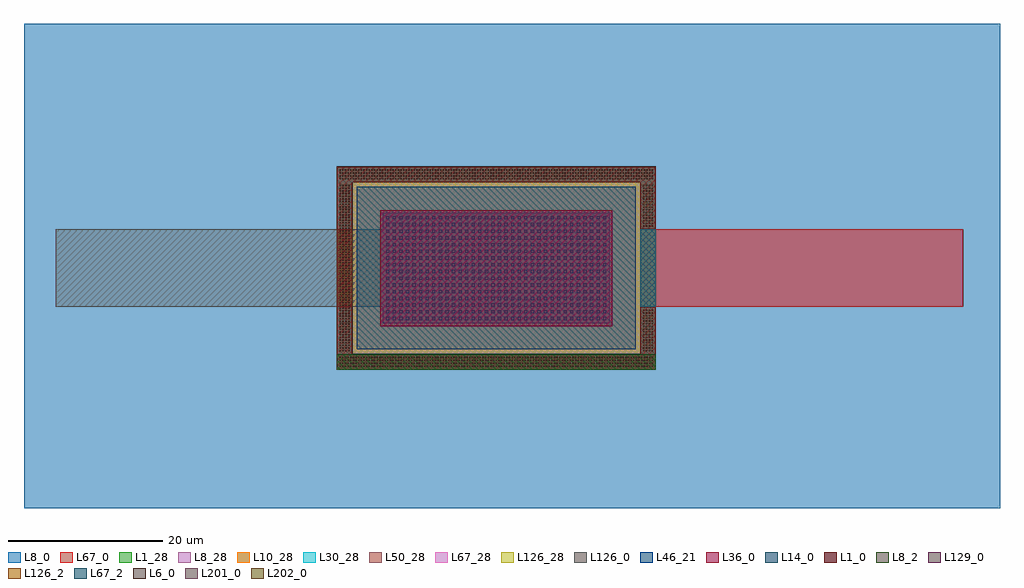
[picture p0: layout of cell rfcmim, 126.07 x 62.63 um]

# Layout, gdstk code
import gdstk
lib = gdstk.Library(unit=1e-6, precision=1e-09)
def R(c, l, rs):  # rectangles x0, y0, x1, y1
    for r in rs: c.add(gdstk.rectangle(r[:2], r[2:], *l))
def A(c, l, x, y, w, h, nx, ny, dx, dy):  # array of equal rectangles
    R(c, l, [(x+i*dx, y+j*dy, x+i*dx+w, y+j*dy+h) for i in range(nx) for j in range(ny)])
def P(c, l, *ps):  # polygons
    for p in ps: c.add(gdstk.Polygon(p, *l))
L1_0 = (1, 0)
L1_28 = (1, 28)
L6_0 = (6, 0)
L8_0 = (8, 0)
L8_2 = (8, 2)
L8_28 = (8, 28)
L10_28 = (10, 28)
L14_0 = (14, 0)
L30_28 = (30, 28)
L36_0 = (36, 0)
L46_21 = (46, 21)
L50_28 = (50, 28)
L67_0 = (67, 0)
L67_2 = (67, 2)
L67_28 = (67, 28)
L126_0 = (126, 0)
L126_2 = (126, 2)
L126_28 = (126, 28)
L129_0 = (129, 0)
L201_0 = (201, 0)
L202_0 = (202, 0)

rfcmim_0 = lib.new_cell('rfcmim_0')
P(rfcmim_0, L1_0, [(-5.6,-5.6),(-5.6,20.6),(35.6,20.6),(35.6,12.5),(33.6,12.5),(33.6,18.6),(-3.6,18.6),(-3.6,-3.6),(33.6,-3.6),(33.6,2.5),(35.6,2.5),(35.6,-5.6)])
R(rfcmim_0, L1_28, [(-5.6,-5.6,35.6,20.6)])
A(rfcmim_0, L6_0, -5.24, -5.24, 0.16, 0.16, 3, 2, 0.34, 0.37)
A(rfcmim_0, L6_0, -4.215, -5.24, 0.16, 0.16, 3, 2, 0.34, 0.37)
A(rfcmim_0, L6_0, -3.19, -5.24, 0.16, 0.16, 3, 2, 0.34, 0.37)
A(rfcmim_0, L6_0, -2.165, -5.24, 0.16, 0.16, 3, 2, 0.34, 0.37)
A(rfcmim_0, L6_0, -1.14, -5.24, 0.16, 0.16, 3, 2, 0.34, 0.37)
A(rfcmim_0, L6_0, -0.115, -5.24, 0.16, 0.16, 3, 2, 0.34, 0.37)
A(rfcmim_0, L6_0, 0.91, -5.24, 0.16, 0.16, 3, 2, 0.34, 0.37)
A(rfcmim_0, L6_0, 1.935, -5.24, 0.16, 0.16, 3, 2, 0.34, 0.37)
A(rfcmim_0, L6_0, 2.96, -5.24, 0.16, 0.16, 3, 2, 0.34, 0.37)
A(rfcmim_0, L6_0, 3.985, -5.24, 0.16, 0.16, 3, 2, 0.34, 0.37)
A(rfcmim_0, L6_0, 5.01, -5.24, 0.16, 0.16, 3, 2, 0.34, 0.37)
A(rfcmim_0, L6_0, 6.035, -5.24, 0.16, 0.16, 3, 2, 0.34, 0.37)
A(rfcmim_0, L6_0, 7.06, -5.24, 0.16, 0.16, 3, 2, 0.34, 0.37)
A(rfcmim_0, L6_0, 8.085, -5.24, 0.16, 0.16, 3, 2, 0.34, 0.37)
A(rfcmim_0, L6_0, 9.11, -5.24, 0.16, 0.16, 3, 2, 0.34, 0.37)
A(rfcmim_0, L6_0, 10.135, -5.24, 0.16, 0.16, 3, 2, 0.34, 0.37)
A(rfcmim_0, L6_0, 11.16, -5.24, 0.16, 0.16, 3, 2, 0.34, 0.37)
A(rfcmim_0, L6_0, 12.185, -5.24, 0.16, 0.16, 3, 2, 0.34, 0.37)
A(rfcmim_0, L6_0, 13.21, -5.24, 0.16, 0.16, 3, 2, 0.34, 0.37)
A(rfcmim_0, L6_0, 14.92, -5.24, 0.16, 0.16, 3, 2, 0.34, 0.37)
A(rfcmim_0, L6_0, 15.945, -5.24, 0.16, 0.16, 3, 2, 0.34, 0.37)
A(rfcmim_0, L6_0, 16.97, -5.24, 0.16, 0.16, 3, 2, 0.34, 0.37)
A(rfcmim_0, L6_0, 17.995, -5.24, 0.16, 0.16, 3, 2, 0.34, 0.37)
A(rfcmim_0, L6_0, 19.02, -5.24, 0.16, 0.16, 3, 2, 0.34, 0.37)
A(rfcmim_0, L6_0, 20.045, -5.24, 0.16, 0.16, 3, 2, 0.34, 0.37)
A(rfcmim_0, L6_0, 21.07, -5.24, 0.16, 0.16, 3, 2, 0.34, 0.37)
A(rfcmim_0, L6_0, 22.095, -5.24, 0.16, 0.16, 3, 2, 0.34, 0.37)
A(rfcmim_0, L6_0, 23.12, -5.24, 0.16, 0.16, 3, 2, 0.34, 0.37)
A(rfcmim_0, L6_0, 24.145, -5.24, 0.16, 0.16, 3, 2, 0.34, 0.37)
A(rfcmim_0, L6_0, 25.17, -5.24, 0.16, 0.16, 3, 2, 0.34, 0.37)
A(rfcmim_0, L6_0, 26.195, -5.24, 0.16, 0.16, 3, 2, 0.34, 0.37)
A(rfcmim_0, L6_0, 27.22, -5.24, 0.16, 0.16, 3, 2, 0.34, 0.37)
A(rfcmim_0, L6_0, 28.245, -5.24, 0.16, 0.16, 3, 2, 0.34, 0.37)
A(rfcmim_0, L6_0, 29.27, -5.24, 0.16, 0.16, 3, 2, 0.34, 0.37)
A(rfcmim_0, L6_0, 30.295, -5.24, 0.16, 0.16, 3, 2, 0.34, 0.37)
A(rfcmim_0, L6_0, 31.32, -5.24, 0.16, 0.16, 3, 2, 0.34, 0.37)
A(rfcmim_0, L6_0, 32.345, -5.24, 0.16, 0.16, 3, 2, 0.34, 0.37)
A(rfcmim_0, L6_0, 33.37, -5.24, 0.16, 0.16, 3, 2, 0.34, 0.37)
A(rfcmim_0, L6_0, 14.235, -4.87, 0.16, 0.16, 1, 3, 0, 0.375)
A(rfcmim_0, L6_0, 14.575, -4.87, 0.16, 0.16, 1, 3, 0, 0.375)
A(rfcmim_0, L6_0, 34.395, -4.87, 0.16, 0.16, 1, 3, 0, 0.375)
A(rfcmim_0, L6_0, 34.735, -4.87, 0.16, 0.16, 1, 3, 0, 0.375)
A(rfcmim_0, L6_0, 35.08, -4.87, 0.16, 0.16, 1, 3, 0, 0.375)
A(rfcmim_0, L6_0, -5.24, -4.495, 0.16, 0.16, 3, 2, 0.34, 0.375)
A(rfcmim_0, L6_0, -4.215, -4.495, 0.16, 0.16, 3, 2, 0.34, 0.375)
A(rfcmim_0, L6_0, -3.19, -4.495, 0.16, 0.16, 3, 2, 0.34, 0.375)
A(rfcmim_0, L6_0, -2.165, -4.495, 0.16, 0.16, 3, 2, 0.34, 0.375)
A(rfcmim_0, L6_0, -1.14, -4.495, 0.16, 0.16, 3, 2, 0.34, 0.375)
A(rfcmim_0, L6_0, -0.115, -4.495, 0.16, 0.16, 3, 2, 0.34, 0.375)
A(rfcmim_0, L6_0, 0.91, -4.495, 0.16, 0.16, 3, 2, 0.34, 0.375)
A(rfcmim_0, L6_0, 1.935, -4.495, 0.16, 0.16, 3, 2, 0.34, 0.375)
A(rfcmim_0, L6_0, 2.96, -4.495, 0.16, 0.16, 3, 2, 0.34, 0.375)
A(rfcmim_0, L6_0, 3.985, -4.495, 0.16, 0.16, 3, 2, 0.34, 0.375)
A(rfcmim_0, L6_0, 5.01, -4.495, 0.16, 0.16, 3, 2, 0.34, 0.375)
A(rfcmim_0, L6_0, 6.035, -4.495, 0.16, 0.16, 3, 2, 0.34, 0.375)
A(rfcmim_0, L6_0, 7.06, -4.495, 0.16, 0.16, 3, 2, 0.34, 0.375)
A(rfcmim_0, L6_0, 8.085, -4.495, 0.16, 0.16, 3, 2, 0.34, 0.375)
A(rfcmim_0, L6_0, 9.11, -4.495, 0.16, 0.16, 3, 2, 0.34, 0.375)
A(rfcmim_0, L6_0, 10.135, -4.495, 0.16, 0.16, 3, 2, 0.34, 0.375)
A(rfcmim_0, L6_0, 11.16, -4.495, 0.16, 0.16, 3, 2, 0.34, 0.375)
A(rfcmim_0, L6_0, 12.185, -4.495, 0.16, 0.16, 3, 2, 0.34, 0.375)
A(rfcmim_0, L6_0, 13.21, -4.495, 0.16, 0.16, 3, 2, 0.34, 0.375)
A(rfcmim_0, L6_0, 14.92, -4.495, 0.16, 0.16, 3, 2, 0.34, 0.375)
A(rfcmim_0, L6_0, 15.945, -4.495, 0.16, 0.16, 3, 2, 0.34, 0.375)
A(rfcmim_0, L6_0, 16.97, -4.495, 0.16, 0.16, 3, 2, 0.34, 0.375)
A(rfcmim_0, L6_0, 17.995, -4.495, 0.16, 0.16, 3, 2, 0.34, 0.375)
A(rfcmim_0, L6_0, 19.02, -4.495, 0.16, 0.16, 3, 2, 0.34, 0.375)
A(rfcmim_0, L6_0, 20.045, -4.495, 0.16, 0.16, 3, 2, 0.34, 0.375)
A(rfcmim_0, L6_0, 21.07, -4.495, 0.16, 0.16, 3, 2, 0.34, 0.375)
A(rfcmim_0, L6_0, 22.095, -4.495, 0.16, 0.16, 3, 2, 0.34, 0.375)
A(rfcmim_0, L6_0, 23.12, -4.495, 0.16, 0.16, 3, 2, 0.34, 0.375)
A(rfcmim_0, L6_0, 24.145, -4.495, 0.16, 0.16, 3, 2, 0.34, 0.375)
A(rfcmim_0, L6_0, 25.17, -4.495, 0.16, 0.16, 3, 2, 0.34, 0.375)
A(rfcmim_0, L6_0, 26.195, -4.495, 0.16, 0.16, 3, 2, 0.34, 0.375)
A(rfcmim_0, L6_0, 27.22, -4.495, 0.16, 0.16, 3, 2, 0.34, 0.375)
A(rfcmim_0, L6_0, 28.245, -4.495, 0.16, 0.16, 3, 2, 0.34, 0.375)
A(rfcmim_0, L6_0, 29.27, -4.495, 0.16, 0.16, 3, 2, 0.34, 0.375)
A(rfcmim_0, L6_0, 30.295, -4.495, 0.16, 0.16, 3, 2, 0.34, 0.375)
A(rfcmim_0, L6_0, 31.32, -4.495, 0.16, 0.16, 3, 2, 0.34, 0.375)
A(rfcmim_0, L6_0, 32.345, -4.495, 0.16, 0.16, 3, 2, 0.34, 0.375)
A(rfcmim_0, L6_0, 33.37, -4.495, 0.16, 0.16, 3, 2, 0.34, 0.375)
A(rfcmim_0, L6_0, -4.87, -3.24, 0.16, 0.16, 3, 2, 0.375, 0.34)
A(rfcmim_0, L6_0, 34.33, -3.24, 0.16, 0.16, 3, 2, 0.375, 0.345)
A(rfcmim_0, L6_0, -5.24, -2.9, 0.16, 0.16, 1, 4, 0, 0.345)
A(rfcmim_0, L6_0, -4.87, -2.555, 0.16, 0.16, 3, 3, 0.375, 0.345)
A(rfcmim_0, L6_0, 34.33, -2.545, 0.16, 0.16, 3, 2, 0.375, 0.345)
A(rfcmim_0, L6_0, 33.96, -2.2, 0.16, 0.16, 1, 3, 0, 0.35)
A(rfcmim_0, L6_0, 34.33, -1.85, 0.16, 0.16, 3, 2, 0.375, 0.35)
A(rfcmim_0, L6_0, -5.24, -1.525, 0.16, 0.16, 1, 4, 0, 0.345)
A(rfcmim_0, L6_0, -4.87, -1.525, 0.16, 0.16, 3, 4, 0.375, 0.345)
A(rfcmim_0, L6_0, 34.33, -1.155, 0.16, 0.16, 3, 2, 0.375, 0.35)
A(rfcmim_0, L6_0, 33.96, -0.46, 0.16, 0.16, 1, 3, 0, 0.35)
A(rfcmim_0, L6_0, 34.33, -0.46, 0.16, 0.16, 3, 3, 0.375, 0.35)
A(rfcmim_0, L6_0, -5.24, -0.15, 0.16, 0.16, 1, 5, 0, 0.345)
A(rfcmim_0, L6_0, -4.87, -0.15, 0.16, 0.16, 3, 5, 0.375, 0.345)
A(rfcmim_0, L6_0, 34.33, 0.585, 0.16, 0.16, 3, 2, 0.375, 0.35)
A(rfcmim_0, L6_0, 33.96, 1.28, 0.16, 0.16, 1, 3, 0, 0.35)
A(rfcmim_0, L6_0, 34.33, 1.28, 0.16, 0.16, 3, 3, 0.375, 0.35)
A(rfcmim_0, L6_0, -5.24, 1.57, 0.16, 0.16, 1, 4, 0, 0.345)
A(rfcmim_0, L6_0, -4.87, 1.57, 0.16, 0.16, 3, 4, 0.375, 0.345)
A(rfcmim_0, L6_0, -5.24, 2.945, 0.16, 0.16, 1, 5, 0, 0.345)
A(rfcmim_0, L6_0, -4.87, 2.945, 0.16, 0.16, 3, 5, 0.375, 0.345)
A(rfcmim_0, L6_0, -5.24, 4.665, 0.16, 0.16, 1, 4, 0, 0.345)
A(rfcmim_0, L6_0, -4.87, 4.665, 0.16, 0.16, 3, 4, 0.375, 0.345)
A(rfcmim_0, L6_0, -5.24, 6.04, 0.16, 0.16, 1, 5, 0, 0.345)
A(rfcmim_0, L6_0, -4.87, 6.04, 0.16, 0.16, 3, 5, 0.375, 0.345)
A(rfcmim_0, L6_0, -5.24, 7.76, 0.16, 0.16, 1, 4, 0, 0.345)
A(rfcmim_0, L6_0, -4.87, 7.76, 0.16, 0.16, 3, 4, 0.375, 0.345)
A(rfcmim_0, L6_0, -5.24, 9.135, 0.16, 0.16, 1, 4, 0, 0.345)
A(rfcmim_0, L6_0, -4.87, 9.135, 0.16, 0.16, 3, 4, 0.375, 0.345)
A(rfcmim_0, L6_0, -5.24, 10.51, 0.16, 0.16, 1, 5, 0, 0.345)
A(rfcmim_0, L6_0, -4.87, 10.51, 0.16, 0.16, 3, 5, 0.375, 0.345)
A(rfcmim_0, L6_0, -5.24, 12.23, 0.16, 0.16, 1, 4, 0, 0.345)
A(rfcmim_0, L6_0, -4.87, 12.23, 0.16, 0.16, 3, 4, 0.375, 0.345)
A(rfcmim_0, L6_0, 34.33, 12.86, 0.16, 0.16, 3, 2, 0.375, 0.345)
A(rfcmim_0, L6_0, 34.33, 13.555, 0.16, 0.16, 3, 2, 0.375, 0.345)
A(rfcmim_0, L6_0, -5.24, 13.605, 0.16, 0.16, 1, 5, 0, 0.345)
A(rfcmim_0, L6_0, -4.87, 13.605, 0.16, 0.16, 3, 5, 0.375, 0.345)
A(rfcmim_0, L6_0, 33.96, 13.9, 0.16, 0.16, 1, 3, 0, 0.35)
A(rfcmim_0, L6_0, 34.33, 14.25, 0.16, 0.16, 3, 2, 0.375, 0.35)
A(rfcmim_0, L6_0, 34.33, 14.945, 0.16, 0.16, 3, 2, 0.375, 0.35)
A(rfcmim_0, L6_0, -5.24, 15.325, 0.16, 0.16, 1, 4, 0, 0.345)
A(rfcmim_0, L6_0, -4.87, 15.325, 0.16, 0.16, 3, 4, 0.375, 0.345)
A(rfcmim_0, L6_0, 33.96, 15.64, 0.16, 0.16, 1, 3, 0, 0.35)
A(rfcmim_0, L6_0, 34.33, 15.64, 0.16, 0.16, 3, 3, 0.375, 0.35)
A(rfcmim_0, L6_0, 34.33, 16.685, 0.16, 0.16, 3, 2, 0.375, 0.35)
A(rfcmim_0, L6_0, -5.24, 16.7, 0.16, 0.16, 1, 5, 0, 0.345)
A(rfcmim_0, L6_0, -4.87, 16.7, 0.16, 0.16, 3, 5, 0.375, 0.345)
A(rfcmim_0, L6_0, 33.96, 17.38, 0.16, 0.16, 1, 3, 0, 0.35)
A(rfcmim_0, L6_0, 34.33, 17.38, 0.16, 0.16, 3, 3, 0.375, 0.35)
A(rfcmim_0, L6_0, -5.24, 18.96, 0.16, 0.16, 3, 2, 0.34, 0.37)
A(rfcmim_0, L6_0, -4.215, 18.96, 0.16, 0.16, 3, 2, 0.34, 0.37)
A(rfcmim_0, L6_0, -3.19, 18.96, 0.16, 0.16, 3, 2, 0.34, 0.37)
A(rfcmim_0, L6_0, -2.165, 18.96, 0.16, 0.16, 3, 2, 0.34, 0.37)
A(rfcmim_0, L6_0, -1.14, 18.96, 0.16, 0.16, 3, 2, 0.34, 0.37)
A(rfcmim_0, L6_0, -0.115, 18.96, 0.16, 0.16, 3, 2, 0.34, 0.37)
A(rfcmim_0, L6_0, 0.91, 18.96, 0.16, 0.16, 3, 2, 0.34, 0.37)
A(rfcmim_0, L6_0, 1.935, 18.96, 0.16, 0.16, 3, 2, 0.34, 0.37)
A(rfcmim_0, L6_0, 2.96, 18.96, 0.16, 0.16, 3, 2, 0.34, 0.37)
A(rfcmim_0, L6_0, 3.985, 18.96, 0.16, 0.16, 3, 2, 0.34, 0.37)
A(rfcmim_0, L6_0, 5.01, 18.96, 0.16, 0.16, 3, 2, 0.34, 0.37)
A(rfcmim_0, L6_0, 6.035, 18.96, 0.16, 0.16, 3, 2, 0.34, 0.37)
A(rfcmim_0, L6_0, 7.06, 18.96, 0.16, 0.16, 3, 2, 0.34, 0.37)
A(rfcmim_0, L6_0, 8.085, 18.96, 0.16, 0.16, 3, 2, 0.34, 0.37)
A(rfcmim_0, L6_0, 9.11, 18.96, 0.16, 0.16, 3, 2, 0.34, 0.37)
A(rfcmim_0, L6_0, 10.135, 18.96, 0.16, 0.16, 3, 2, 0.34, 0.37)
A(rfcmim_0, L6_0, 11.16, 18.96, 0.16, 0.16, 3, 2, 0.34, 0.37)
A(rfcmim_0, L6_0, 12.185, 18.96, 0.16, 0.16, 3, 2, 0.34, 0.37)
A(rfcmim_0, L6_0, 13.21, 18.96, 0.16, 0.16, 3, 2, 0.34, 0.37)
A(rfcmim_0, L6_0, 14.92, 18.96, 0.16, 0.16, 3, 2, 0.34, 0.37)
A(rfcmim_0, L6_0, 15.945, 18.96, 0.16, 0.16, 3, 2, 0.34, 0.37)
A(rfcmim_0, L6_0, 16.97, 18.96, 0.16, 0.16, 3, 2, 0.34, 0.37)
A(rfcmim_0, L6_0, 17.995, 18.96, 0.16, 0.16, 3, 2, 0.34, 0.37)
A(rfcmim_0, L6_0, 19.02, 18.96, 0.16, 0.16, 3, 2, 0.34, 0.37)
A(rfcmim_0, L6_0, 20.045, 18.96, 0.16, 0.16, 3, 2, 0.34, 0.37)
A(rfcmim_0, L6_0, 21.07, 18.96, 0.16, 0.16, 3, 2, 0.34, 0.37)
A(rfcmim_0, L6_0, 22.095, 18.96, 0.16, 0.16, 3, 2, 0.34, 0.37)
A(rfcmim_0, L6_0, 23.12, 18.96, 0.16, 0.16, 3, 2, 0.34, 0.37)
A(rfcmim_0, L6_0, 24.145, 18.96, 0.16, 0.16, 3, 2, 0.34, 0.37)
A(rfcmim_0, L6_0, 25.17, 18.96, 0.16, 0.16, 3, 2, 0.34, 0.37)
A(rfcmim_0, L6_0, 26.195, 18.96, 0.16, 0.16, 3, 2, 0.34, 0.37)
A(rfcmim_0, L6_0, 27.22, 18.96, 0.16, 0.16, 3, 2, 0.34, 0.37)
A(rfcmim_0, L6_0, 28.245, 18.96, 0.16, 0.16, 3, 2, 0.34, 0.37)
A(rfcmim_0, L6_0, 29.27, 18.96, 0.16, 0.16, 3, 2, 0.34, 0.37)
A(rfcmim_0, L6_0, 30.295, 18.96, 0.16, 0.16, 3, 2, 0.34, 0.37)
A(rfcmim_0, L6_0, 31.32, 18.96, 0.16, 0.16, 3, 2, 0.34, 0.37)
A(rfcmim_0, L6_0, 32.345, 18.96, 0.16, 0.16, 3, 2, 0.34, 0.37)
A(rfcmim_0, L6_0, 33.37, 18.96, 0.16, 0.16, 3, 2, 0.34, 0.37)
A(rfcmim_0, L6_0, 14.235, 19.33, 0.16, 0.16, 1, 3, 0, 0.375)
A(rfcmim_0, L6_0, 14.575, 19.33, 0.16, 0.16, 1, 3, 0, 0.375)
A(rfcmim_0, L6_0, 34.395, 19.33, 0.16, 0.16, 1, 3, 0, 0.375)
A(rfcmim_0, L6_0, 34.735, 19.33, 0.16, 0.16, 1, 3, 0, 0.375)
A(rfcmim_0, L6_0, 35.08, 19.33, 0.16, 0.16, 1, 3, 0, 0.375)
A(rfcmim_0, L6_0, -5.24, 19.705, 0.16, 0.16, 3, 2, 0.34, 0.375)
A(rfcmim_0, L6_0, -4.215, 19.705, 0.16, 0.16, 3, 2, 0.34, 0.375)
A(rfcmim_0, L6_0, -3.19, 19.705, 0.16, 0.16, 3, 2, 0.34, 0.375)
A(rfcmim_0, L6_0, -2.165, 19.705, 0.16, 0.16, 3, 2, 0.34, 0.375)
A(rfcmim_0, L6_0, -1.14, 19.705, 0.16, 0.16, 3, 2, 0.34, 0.375)
A(rfcmim_0, L6_0, -0.115, 19.705, 0.16, 0.16, 3, 2, 0.34, 0.375)
A(rfcmim_0, L6_0, 0.91, 19.705, 0.16, 0.16, 3, 2, 0.34, 0.375)
A(rfcmim_0, L6_0, 1.935, 19.705, 0.16, 0.16, 3, 2, 0.34, 0.375)
A(rfcmim_0, L6_0, 2.96, 19.705, 0.16, 0.16, 3, 2, 0.34, 0.375)
A(rfcmim_0, L6_0, 3.985, 19.705, 0.16, 0.16, 3, 2, 0.34, 0.375)
A(rfcmim_0, L6_0, 5.01, 19.705, 0.16, 0.16, 3, 2, 0.34, 0.375)
A(rfcmim_0, L6_0, 6.035, 19.705, 0.16, 0.16, 3, 2, 0.34, 0.375)
A(rfcmim_0, L6_0, 7.06, 19.705, 0.16, 0.16, 3, 2, 0.34, 0.375)
A(rfcmim_0, L6_0, 8.085, 19.705, 0.16, 0.16, 3, 2, 0.34, 0.375)
A(rfcmim_0, L6_0, 9.11, 19.705, 0.16, 0.16, 3, 2, 0.34, 0.375)
A(rfcmim_0, L6_0, 10.135, 19.705, 0.16, 0.16, 3, 2, 0.34, 0.375)
A(rfcmim_0, L6_0, 11.16, 19.705, 0.16, 0.16, 3, 2, 0.34, 0.375)
A(rfcmim_0, L6_0, 12.185, 19.705, 0.16, 0.16, 3, 2, 0.34, 0.375)
A(rfcmim_0, L6_0, 13.21, 19.705, 0.16, 0.16, 3, 2, 0.34, 0.375)
A(rfcmim_0, L6_0, 14.92, 19.705, 0.16, 0.16, 3, 2, 0.34, 0.375)
A(rfcmim_0, L6_0, 15.945, 19.705, 0.16, 0.16, 3, 2, 0.34, 0.375)
A(rfcmim_0, L6_0, 16.97, 19.705, 0.16, 0.16, 3, 2, 0.34, 0.375)
A(rfcmim_0, L6_0, 17.995, 19.705, 0.16, 0.16, 3, 2, 0.34, 0.375)
A(rfcmim_0, L6_0, 19.02, 19.705, 0.16, 0.16, 3, 2, 0.34, 0.375)
A(rfcmim_0, L6_0, 20.045, 19.705, 0.16, 0.16, 3, 2, 0.34, 0.375)
A(rfcmim_0, L6_0, 21.07, 19.705, 0.16, 0.16, 3, 2, 0.34, 0.375)
A(rfcmim_0, L6_0, 22.095, 19.705, 0.16, 0.16, 3, 2, 0.34, 0.375)
A(rfcmim_0, L6_0, 23.12, 19.705, 0.16, 0.16, 3, 2, 0.34, 0.375)
A(rfcmim_0, L6_0, 24.145, 19.705, 0.16, 0.16, 3, 2, 0.34, 0.375)
A(rfcmim_0, L6_0, 25.17, 19.705, 0.16, 0.16, 3, 2, 0.34, 0.375)
A(rfcmim_0, L6_0, 26.195, 19.705, 0.16, 0.16, 3, 2, 0.34, 0.375)
A(rfcmim_0, L6_0, 27.22, 19.705, 0.16, 0.16, 3, 2, 0.34, 0.375)
A(rfcmim_0, L6_0, 28.245, 19.705, 0.16, 0.16, 3, 2, 0.34, 0.375)
A(rfcmim_0, L6_0, 29.27, 19.705, 0.16, 0.16, 3, 2, 0.34, 0.375)
A(rfcmim_0, L6_0, 30.295, 19.705, 0.16, 0.16, 3, 2, 0.34, 0.375)
A(rfcmim_0, L6_0, 31.32, 19.705, 0.16, 0.16, 3, 2, 0.34, 0.375)
A(rfcmim_0, L6_0, 32.345, 19.705, 0.16, 0.16, 3, 2, 0.34, 0.375)
A(rfcmim_0, L6_0, 33.37, 19.705, 0.16, 0.16, 3, 2, 0.34, 0.375)
R(rfcmim_0, L6_0, [(14.235,-5.24,14.395,-5.08), (14.575,-5.24,14.735,-5.08), (34.395,-5.24,34.555,-5.08), (34.735,-5.24,34.895,-5.08), (35.08,-5.24,35.24,-5.08), (-5.24,-3.24,-5.08,-3.08), (33.96,-3.24,34.12,-3.08), (33.96,-2.895,34.12,-2.735), (33.96,-2.545,34.12,-2.385), (33.96,-1.155,34.12,-0.995), (33.96,-0.805,34.12,-0.645), (33.96,0.585,34.12,0.745), (33.96,0.935,34.12,1.095), (33.96,12.86,34.12,13.02), (33.96,13.205,34.12,13.365), (33.96,13.555,34.12,13.715), (33.96,14.945,34.12,15.105), (33.96,15.295,34.12,15.455), (33.96,16.685,34.12,16.845), (33.96,17.035,34.12,17.195), (14.235,18.96,14.395,19.12), (14.575,18.96,14.735,19.12), (34.395,18.96,34.555,19.12), (34.735,18.96,34.895,19.12), (35.08,18.96,35.24,19.12)])
P(rfcmim_0, L8_0, [(-5.6,-5.6),(-5.6,20.6),(35.6,20.6),(35.6,12.5),(33.6,12.5),(33.6,18.6),(-3.6,18.6),(-3.6,-3.6),(33.6,-3.6),(33.6,2.5),(35.6,2.5),(35.6,-5.6)])
R(rfcmim_0, L8_2, [(-5.6,-5.6,35.6,-3.6), (-5.6,-5.6,35.6,-3.6)])
R(rfcmim_0, L8_28, [(-5.6,-5.6,35.6,20.6)])
R(rfcmim_0, L10_28, [(-5.6,-5.6,35.6,20.6)])
P(rfcmim_0, L14_0, [(-5.63,-5.63),(-5.63,20.63),(-3.57,20.63),(-3.57,-3.57),(33.57,-3.57),(33.57,18.57),(-3.57,18.57),(-3.57,20.63),(35.63,20.63),(35.63,-5.63)])
R(rfcmim_0, L30_28, [(-5.6,-5.6,35.6,20.6)])
R(rfcmim_0, L36_0, [(0,0,30,15)])
R(rfcmim_0, L46_21, [(-3,-3,33,18)])
R(rfcmim_0, L50_28, [(-5.6,-5.6,35.6,20.6)])
R(rfcmim_0, L67_0, [(-0.6,-0.6,30.6,15.6), (-0.6,-0.6,30.6,15.6), (30.6,2.5,35.6,12.5)])
R(rfcmim_0, L67_2, [(33.6,2.5,35.6,12.5), (33.6,2.5,35.6,12.5)])
R(rfcmim_0, L67_28, [(-5.6,-5.6,35.6,20.6)])
R(rfcmim_0, L126_0, [(0.36,0.36,29.64,14.64), (-5.6,2.5,0.36,12.5)])
R(rfcmim_0, L126_2, [(-5.6,2.5,-3.6,12.5), (-5.6,2.5,-3.6,12.5)])
R(rfcmim_0, L126_28, [(-5.6,-5.6,35.6,20.6)])
A(rfcmim_0, L129_0, 1.625, 0.78, 0.42, 0.42, 5, 2, 0.85, 0.865)
A(rfcmim_0, L129_0, 5.87, 0.78, 0.42, 0.42, 6, 2, 0.85, 0.865)
A(rfcmim_0, L129_0, 10.965, 0.78, 0.42, 0.42, 5, 2, 0.85, 0.865)
A(rfcmim_0, L129_0, 15.21, 0.78, 0.42, 0.42, 6, 2, 0.85, 0.865)
A(rfcmim_0, L129_0, 20.305, 0.78, 0.42, 0.42, 5, 2, 0.85, 0.865)
A(rfcmim_0, L129_0, 24.55, 0.78, 0.42, 0.42, 6, 2, 0.85, 0.865)
A(rfcmim_0, L129_0, 1.625, 2.515, 0.42, 0.42, 5, 2, 0.85, 0.865)
A(rfcmim_0, L129_0, 5.87, 2.515, 0.42, 0.42, 6, 2, 0.85, 0.865)
A(rfcmim_0, L129_0, 10.965, 2.515, 0.42, 0.42, 5, 2, 0.85, 0.865)
A(rfcmim_0, L129_0, 15.21, 2.515, 0.42, 0.42, 6, 2, 0.85, 0.865)
A(rfcmim_0, L129_0, 20.305, 2.515, 0.42, 0.42, 5, 2, 0.85, 0.865)
A(rfcmim_0, L129_0, 24.55, 2.515, 0.42, 0.42, 6, 2, 0.85, 0.865)
A(rfcmim_0, L129_0, 0.78, 3.38, 0.42, 0.42, 1, 3, 0, 0.87)
A(rfcmim_0, L129_0, 1.625, 4.25, 0.42, 0.42, 5, 2, 0.85, 0.87)
A(rfcmim_0, L129_0, 5.87, 4.25, 0.42, 0.42, 6, 2, 0.85, 0.87)
A(rfcmim_0, L129_0, 10.965, 4.25, 0.42, 0.42, 5, 2, 0.85, 0.87)
A(rfcmim_0, L129_0, 15.21, 4.25, 0.42, 0.42, 6, 2, 0.85, 0.87)
A(rfcmim_0, L129_0, 20.305, 4.25, 0.42, 0.42, 5, 2, 0.85, 0.87)
A(rfcmim_0, L129_0, 24.55, 4.25, 0.42, 0.42, 6, 2, 0.85, 0.87)
A(rfcmim_0, L129_0, 1.625, 5.985, 0.42, 0.42, 5, 2, 0.85, 0.87)
A(rfcmim_0, L129_0, 5.87, 5.985, 0.42, 0.42, 6, 2, 0.85, 0.87)
A(rfcmim_0, L129_0, 10.965, 5.985, 0.42, 0.42, 5, 2, 0.85, 0.87)
A(rfcmim_0, L129_0, 15.21, 5.985, 0.42, 0.42, 6, 2, 0.85, 0.87)
A(rfcmim_0, L129_0, 20.305, 5.985, 0.42, 0.42, 5, 2, 0.85, 0.87)
A(rfcmim_0, L129_0, 24.55, 5.985, 0.42, 0.42, 6, 2, 0.85, 0.87)
A(rfcmim_0, L129_0, 0.78, 7.72, 0.42, 0.42, 1, 3, 0, 0.87)
A(rfcmim_0, L129_0, 1.625, 7.72, 0.42, 0.42, 5, 3, 0.85, 0.87)
A(rfcmim_0, L129_0, 5.87, 7.72, 0.42, 0.42, 6, 3, 0.85, 0.87)
A(rfcmim_0, L129_0, 10.965, 7.72, 0.42, 0.42, 5, 3, 0.85, 0.87)
A(rfcmim_0, L129_0, 15.21, 7.72, 0.42, 0.42, 6, 3, 0.85, 0.87)
A(rfcmim_0, L129_0, 20.305, 7.72, 0.42, 0.42, 5, 3, 0.85, 0.87)
A(rfcmim_0, L129_0, 24.55, 7.72, 0.42, 0.42, 6, 3, 0.85, 0.87)
A(rfcmim_0, L129_0, 1.625, 10.325, 0.42, 0.42, 5, 2, 0.85, 0.87)
A(rfcmim_0, L129_0, 5.87, 10.325, 0.42, 0.42, 6, 2, 0.85, 0.87)
A(rfcmim_0, L129_0, 10.965, 10.325, 0.42, 0.42, 5, 2, 0.85, 0.87)
A(rfcmim_0, L129_0, 15.21, 10.325, 0.42, 0.42, 6, 2, 0.85, 0.87)
A(rfcmim_0, L129_0, 20.305, 10.325, 0.42, 0.42, 5, 2, 0.85, 0.87)
A(rfcmim_0, L129_0, 24.55, 10.325, 0.42, 0.42, 6, 2, 0.85, 0.87)
A(rfcmim_0, L129_0, 0.78, 12.06, 0.42, 0.42, 1, 3, 0, 0.87)
A(rfcmim_0, L129_0, 1.625, 12.06, 0.42, 0.42, 5, 3, 0.85, 0.87)
A(rfcmim_0, L129_0, 5.87, 12.06, 0.42, 0.42, 6, 3, 0.85, 0.87)
A(rfcmim_0, L129_0, 10.965, 12.06, 0.42, 0.42, 5, 3, 0.85, 0.87)
A(rfcmim_0, L129_0, 15.21, 12.06, 0.42, 0.42, 6, 3, 0.85, 0.87)
A(rfcmim_0, L129_0, 20.305, 12.06, 0.42, 0.42, 5, 3, 0.85, 0.87)
A(rfcmim_0, L129_0, 24.55, 12.06, 0.42, 0.42, 6, 3, 0.85, 0.87)
R(rfcmim_0, L129_0, [(0.78,0.78,1.2,1.2), (0.78,1.645,1.2,2.065), (0.78,2.515,1.2,2.935), (0.78,5.985,1.2,6.405), (0.78,6.855,1.2,7.275), (0.78,10.325,1.2,10.745), (0.78,11.195,1.2,11.615)])
rfcmim_0.add(gdstk.Label('C=679.277f', (15,-2), layer=63, texttype=0))
rfcmim_0.add(gdstk.Label('rfcmim', (15,17), layer=63, texttype=0))
rfcmim_0.add(gdstk.Label('TIE', (15,-4.6), layer=63, texttype=0))
rfcmim_0.add(gdstk.Label('MINUS', (7.5,7.5), layer=63, texttype=0))
rfcmim_0.add(gdstk.Label('PLUS', (-4.6,7.5), layer=63, texttype=0))

rfcmim = lib.new_cell('rfcmim')
R(rfcmim, L8_0, [(-36.785,-12.19,3.62,50.44), (3.62,-12.19,44.82,5.75), (44.82,-12.19,89.285,50.44), (3.62,31.95,44.82,50.44)])
R(rfcmim, L67_0, [(44.82,13.85,84.53,23.85)])
R(rfcmim, L126_0, [(-32.665,13.85,3.62,23.85)])
P(rfcmim, L201_0, [(-32.665,13.85),(-32.665,23.85),(-32.665,23.85),(-32.665,13.85)])
P(rfcmim, L202_0, [(84.53,13.85),(84.53,23.85),(84.53,23.85),(84.53,13.85)])
rfcmim.add(gdstk.Reference(rfcmim_0, (9.22,11.35)))

lib.write_gds('rfcmim.gds')
